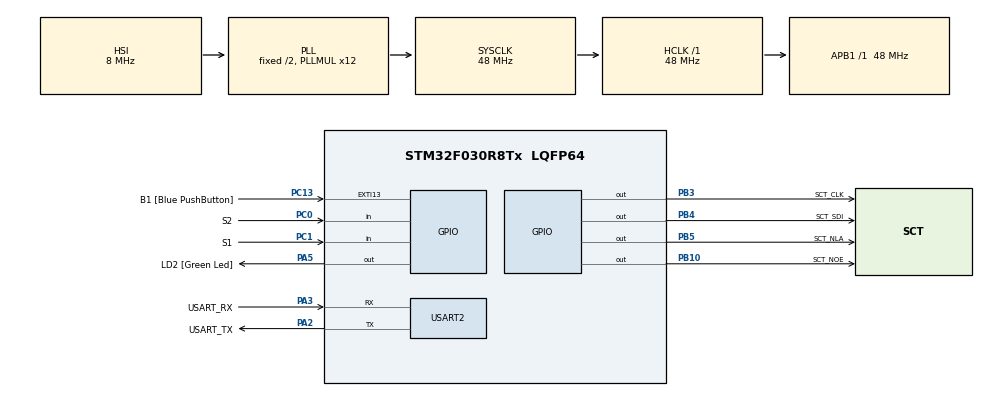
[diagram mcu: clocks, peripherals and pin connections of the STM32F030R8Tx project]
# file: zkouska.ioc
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Mcu.Family=STM32F0
Mcu.Name=STM32F030R8Tx
Mcu.Package=LQFP64
PA13.GPIO_Label=TMS
PA13.Mode=Serial_Wire
PA13.Signal=SYS_SWDIO
PA14.GPIO_Label=TCK
PA14.Mode=Serial_Wire
PA14.Signal=SYS_SWCLK
PA2.GPIO_Label=USART_TX
PA2.GPIO_Mode=GPIO_MODE_AF_PP
PA2.GPIO_PuPd=GPIO_NOPULL
PA2.GPIO_Speed=GPIO_SPEED_FREQ_LOW
PA2.Mode=Asynchronous
PA2.Signal=USART2_TX
PA3.GPIO_Label=USART_RX
PA3.GPIO_Mode=GPIO_MODE_AF_PP
PA3.GPIO_PuPd=GPIO_NOPULL
PA3.GPIO_Speed=GPIO_SPEED_FREQ_LOW
PA3.Mode=Asynchronous
PA3.Signal=USART2_RX
PA5.GPIO_Label=LD2 [Green Led]
PA5.GPIO_Mode=GPIO_MODE_OUTPUT_PP
PA5.GPIO_PuPd=GPIO_NOPULL
PA5.GPIO_Speed=GPIO_SPEED_FREQ_LOW
PA5.Signal=GPIO_Output
PB10.GPIO_Label=SCT_NOE
PB10.Signal=GPIO_Output
PB3.GPIO_Label=SCT_CLK
PB3.Signal=GPIO_Output
PB4.GPIO_Label=SCT_SDI
PB4.Signal=GPIO_Output
PB5.GPIO_Label=SCT_NLA
PB5.Signal=GPIO_Output
PC0.GPIO_Label=S2
PC0.GPIO_PuPd=GPIO_PULLUP
PC0.Signal=GPIO_Input
PC1.GPIO_Label=S1
PC1.GPIO_PuPd=GPIO_PULLUP
PC1.Signal=GPIO_Input
PC13.GPIO_Label=B1 [Blue PushButton]
PC13.GPIO_ModeDefaultEXTI=GPIO_MODE_IT_FALLING
PC13.Signal=GPXTI13
PC14-OSC32_IN.Mode=LSE-External-Oscillator
PC14-OSC32_IN.Signal=RCC_OSC32_IN
PC15-OSC32_OUT.Mode=LSE-External-Oscillator
PC15-OSC32_OUT.Signal=RCC_OSC32_OUT
PF0-OSC_IN.Mode=HSE-External-Clock-Source
PF0-OSC_IN.Signal=RCC_OSC_IN
PF1-OSC_OUT.Signal=RCC_OSC_OUT
ProjectManager.HeapSize=0x200
ProjectManager.StackSize=0x400
ProjectManager.TargetToolchain=STM32CubeIDE
RCC.AHBFreq_Value=48000000
RCC.APB1Freq_Value=48000000
RCC.APB1TimFreq_Value=48000000
RCC.HCLKFreq_Value=48000000
RCC.PLLMUL=RCC_PLL_MUL12
RCC.SYSCLKFreq_VALUE=48000000
RCC.SYSCLKSource=RCC_SYSCLKSOURCE_PLLCLK
USART2.VirtualMode-Asynchronous=VM_ASYNC
board=NUCLEO-F030R8

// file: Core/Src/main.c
/* USER CODE BEGIN Header */
/**
  ******************************************************************************
  * @file           : main.c
  * @brief          : Main program body
  ******************************************************************************
  * @attention
  *
  * Copyright (c) 2024 STMicroelectronics.
  * All rights reserved.
  *
  * This software is licensed under terms that can be found in the LICENSE file
  * in the root directory of this software component.
  * If no LICENSE file comes with this software, it is provided AS-IS.
  *
  ******************************************************************************
  */
/* USER CODE END Header */
#include "main.h"

/* USER CODE BEGIN Includes */
#include "sct.h"
/* USER CODE END Includes */

/* USER CODE BEGIN PTD */
#define MIN_DELAY 20
#define MAX_DELAY 100
#define DELAY_DECR 5

#define SAMPLE 5
/* USER CODE END PTD */

UART_HandleTypeDef huart2;

void SystemClock_Config(void);
static void MX_GPIO_Init(void);
static void MX_USART2_UART_Init(void);

/* USER CODE BEGIN 0 */

void set_random()
{
	uint8_t number = (HAL_GetTick() % 6) + 1;

	sct_cube(number);
}

void handle_S2()
{	if (!HAL_GPIO_ReadPin(S2_GPIO_Port, S2_Pin)) {
		set_random();
		HAL_Delay(100);
	}
}

void handle_S1()
{
	static uint16_t delay;
	static uint32_t counter;

	if (!HAL_GPIO_ReadPin(S1_GPIO_Port, S1_Pin))  {
		delay = MAX_DELAY;
		counter = HAL_GetTick();

	}

	if (HAL_GetTick() > counter + delay && delay > MIN_DELAY)  {
		set_random();
		HAL_Delay(delay);
		delay -= DELAY_DECR;
	}
}
/* USER CODE END 0 */

int main(void)
{

  /* MCU Configuration--------------------------------------------------------*/

  /* Reset of all peripherals, Initializes the Flash interface and the Systick. */
  HAL_Init();

  /* Configure the system clock */
  SystemClock_Config();

  /* Initialize all configured peripherals */
  MX_GPIO_Init();
  MX_USART2_UART_Init();
  /* USER CODE BEGIN 2 */
  sct_init();
  /* USER CODE END 2 */

  /* Infinite loop */
  while (1)
  {

    /* USER CODE BEGIN 3 */

	  uint32_t counter = 0;

	  if (HAL_GetTick() > counter + SAMPLE)  {
		  handle_S2();
	  	  handle_S1();

	  	  counter = HAL_GetTick();
  	  }

  }
  /* USER CODE END 3 */
}

void SystemClock_Config(void)
{
  RCC_OscInitTypeDef RCC_OscInitStruct = {0};
  RCC_ClkInitTypeDef RCC_ClkInitStruct = {0};

  /** Initializes the RCC Oscillators according to the specified parameters
  * in the RCC_OscInitTypeDef structure.
  */
  RCC_OscInitStruct.OscillatorType = RCC_OSCILLATORTYPE_HSI;
  RCC_OscInitStruct.HSIState = RCC_HSI_ON;
  RCC_OscInitStruct.HSICalibrationValue = RCC_HSICALIBRATION_DEFAULT;
  RCC_OscInitStruct.PLL.PLLState = RCC_PLL_ON;
  RCC_OscInitStruct.PLL.PLLSource = RCC_PLLSOURCE_HSI;
  RCC_OscInitStruct.PLL.PLLMUL = RCC_PLL_MUL12;
  RCC_OscInitStruct.PLL.PREDIV = RCC_PREDIV_DIV1;
  if (HAL_RCC_OscConfig(&RCC_OscInitStruct) != HAL_OK)
  {
    Error_Handler();
  }

  /** Initializes the CPU, AHB and APB buses clocks
  */
  RCC_ClkInitStruct.ClockType = RCC_CLOCKTYPE_HCLK|RCC_CLOCKTYPE_SYSCLK
                              |RCC_CLOCKTYPE_PCLK1;
  RCC_ClkInitStruct.SYSCLKSource = RCC_SYSCLKSOURCE_PLLCLK;
  RCC_ClkInitStruct.AHBCLKDivider = RCC_SYSCLK_DIV1;
  RCC_ClkInitStruct.APB1CLKDivider = RCC_HCLK_DIV1;

  if (HAL_RCC_ClockConfig(&RCC_ClkInitStruct, FLASH_LATENCY_1) != HAL_OK)
  {
    Error_Handler();
  }
}

static void MX_USART2_UART_Init(void)
{

  huart2.Instance = USART2;
  huart2.Init.BaudRate = 38400;
  huart2.Init.WordLength = UART_WORDLENGTH_8B;
  huart2.Init.StopBits = UART_STOPBITS_1;
  huart2.Init.Parity = UART_PARITY_NONE;
  huart2.Init.Mode = UART_MODE_TX_RX;
  huart2.Init.HwFlowCtl = UART_HWCONTROL_NONE;
  huart2.Init.OverSampling = UART_OVERSAMPLING_16;
  huart2.Init.OneBitSampling = UART_ONE_BIT_SAMPLE_DISABLE;
  huart2.AdvancedInit.AdvFeatureInit = UART_ADVFEATURE_NO_INIT;
  if (HAL_UART_Init(&huart2) != HAL_OK)
  {
    Error_Handler();
  }

}

static void MX_GPIO_Init(void)
{
  GPIO_InitTypeDef GPIO_InitStruct = {0};

  /* GPIO Ports Clock Enable */
  __HAL_RCC_GPIOC_CLK_ENABLE();
  __HAL_RCC_GPIOF_CLK_ENABLE();
  __HAL_RCC_GPIOA_CLK_ENABLE();
  __HAL_RCC_GPIOB_CLK_ENABLE();

  /*Configure GPIO pin Output Level */
  HAL_GPIO_WritePin(LD2_GPIO_Port, LD2_Pin, GPIO_PIN_RESET);

  /*Configure GPIO pin Output Level */
  HAL_GPIO_WritePin(GPIOB, SCT_NOE_Pin|SCT_CLK_Pin|SCT_SDI_Pin|SCT_NLA_Pin, GPIO_PIN_RESET);

  /*Configure GPIO pin : B1_Pin */
  GPIO_InitStruct.Pin = B1_Pin;
  GPIO_InitStruct.Mode = GPIO_MODE_IT_FALLING;
  GPIO_InitStruct.Pull = GPIO_NOPULL;
  HAL_GPIO_Init(B1_GPIO_Port, &GPIO_InitStruct);

  /*Configure GPIO pins : S2_Pin S1_Pin */
  GPIO_InitStruct.Pin = S2_Pin|S1_Pin;
  GPIO_InitStruct.Mode = GPIO_MODE_INPUT;
  GPIO_InitStruct.Pull = GPIO_PULLUP;
  HAL_GPIO_Init(GPIOC, &GPIO_InitStruct);

  /*Configure GPIO pin : LD2_Pin */
  GPIO_InitStruct.Pin = LD2_Pin;
  GPIO_InitStruct.Mode = GPIO_MODE_OUTPUT_PP;
  GPIO_InitStruct.Pull = GPIO_NOPULL;
  GPIO_InitStruct.Speed = GPIO_SPEED_FREQ_LOW;
  HAL_GPIO_Init(LD2_GPIO_Port, &GPIO_InitStruct);

  /*Configure GPIO pins : SCT_NOE_Pin SCT_CLK_Pin SCT_SDI_Pin SCT_NLA_Pin */
  GPIO_InitStruct.Pin = SCT_NOE_Pin|SCT_CLK_Pin|SCT_SDI_Pin|SCT_NLA_Pin;
  GPIO_InitStruct.Mode = GPIO_MODE_OUTPUT_PP;
  GPIO_InitStruct.Pull = GPIO_NOPULL;
  GPIO_InitStruct.Speed = GPIO_SPEED_FREQ_LOW;
  HAL_GPIO_Init(GPIOB, &GPIO_InitStruct);

}

void Error_Handler(void)
{
  __disable_irq();
  while (1)
  {
  }
}
